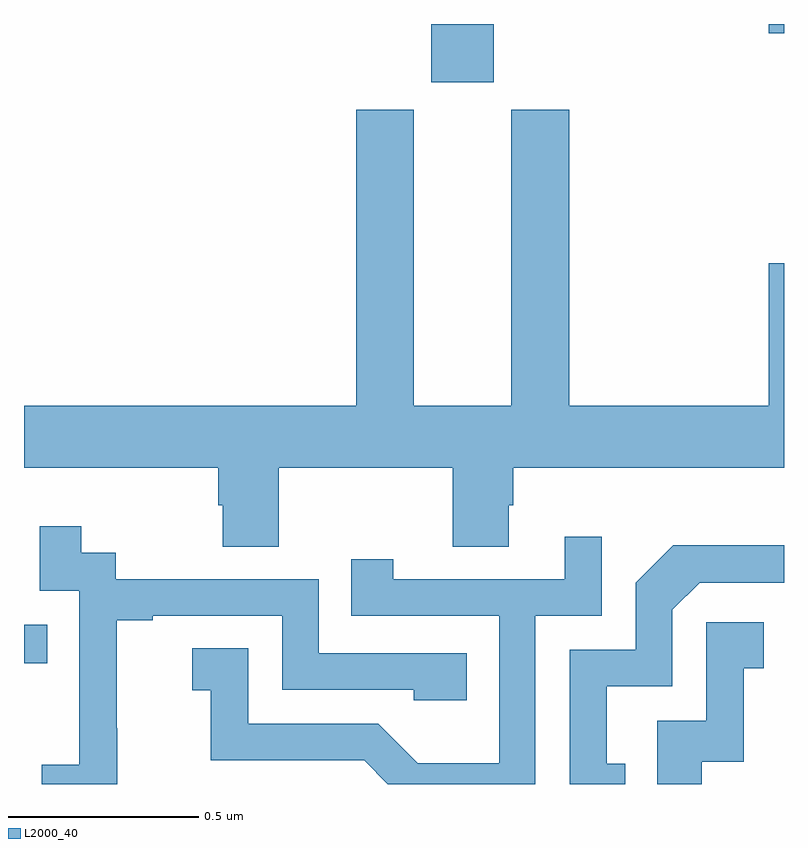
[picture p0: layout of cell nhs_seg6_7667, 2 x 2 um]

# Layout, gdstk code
import gdstk
lib = gdstk.Library(unit=1e-6, precision=1e-09)
def R(c, l, rs):  # rectangles x0, y0, x1, y1
    for r in rs: c.add(gdstk.rectangle(r[:2], r[2:], *l))
def P(c, l, *ps):  # polygons
    for p in ps: c.add(gdstk.Polygon(p, *l))
L2000_40 = (2000, 40)

nhs_seg6_7667 = lib.new_cell('nhs_seg6_7667')
R(nhs_seg6_7667, L2000_40, [(211,950.818,211.061,950.919), (212.072,952.347,212.236,952.5), (212.96,952.476,213,952.5)])
P(nhs_seg6_7667, L2000_40, [(211.671,951.332),(212.128,951.332),(212.128,951.124),(212.275,951.124),(212.275,951.234),(212.288,951.234),(212.288,951.332),(213,951.332),(213,951.871),(212.96,951.871),(212.96,951.496),(212.435,951.496),(212.435,952.275),(212.282,952.275),(212.282,951.496),(212.026,951.496),(212.026,952.275),(211.874,952.275),(211.874,951.496),(211,951.496),(211,951.332),(211.511,951.332),(211.511,951.234),(211.523,951.234),(211.523,951.124),(211.671,951.124)],
  [(211.245,950.647),(211.244,950.647),(211.244,950.931),(211.339,950.931),(211.339,950.943),(211.68,950.943),(211.68,950.748),(212.025,950.748),(212.025,950.721),(212.165,950.721),(212.165,950.844),(211.776,950.844),(211.776,951.039),(211.242,951.039),(211.242,951.108),(211.15,951.108),(211.15,951.178),(211.041,951.178),(211.041,951.009),(211.146,951.009),(211.146,950.78),(211.145,950.78),(211.145,950.551),(211.047,950.551),(211.047,950.5),(211.245,950.5)],
  [(212.346,950.943),(212.52,950.943),(212.52,951.151),(212.423,951.151),(212.423,951.039),(211.972,951.039),(211.972,951.091),(211.861,951.091),(211.861,950.943),(212.25,950.943),(212.25,950.554),(212.036,950.554),(211.932,950.658),(211.59,950.658),(211.59,950.857),(211.443,950.857),(211.443,950.747),(211.492,950.747),(211.492,950.562),(211.895,950.562),(211.957,950.5),(212.346,950.5)],
  [(212.582,950.553),(212.533,950.553),(212.533,950.757),(212.706,950.757),(212.706,950.958),(212.778,951.03),(213,951.03),(213,951.128),(212.708,951.128),(212.61,951.03),(212.61,950.853),(212.436,950.853),(212.436,950.5),(212.582,950.5)],
  [(212.783,950.559),(212.894,950.559),(212.894,950.805),(212.947,950.805),(212.947,950.926),(212.796,950.926),(212.796,950.667),(212.667,950.667),(212.667,950.5),(212.783,950.5)])

lib.write_gds('nhs_seg6_7667.gds')
